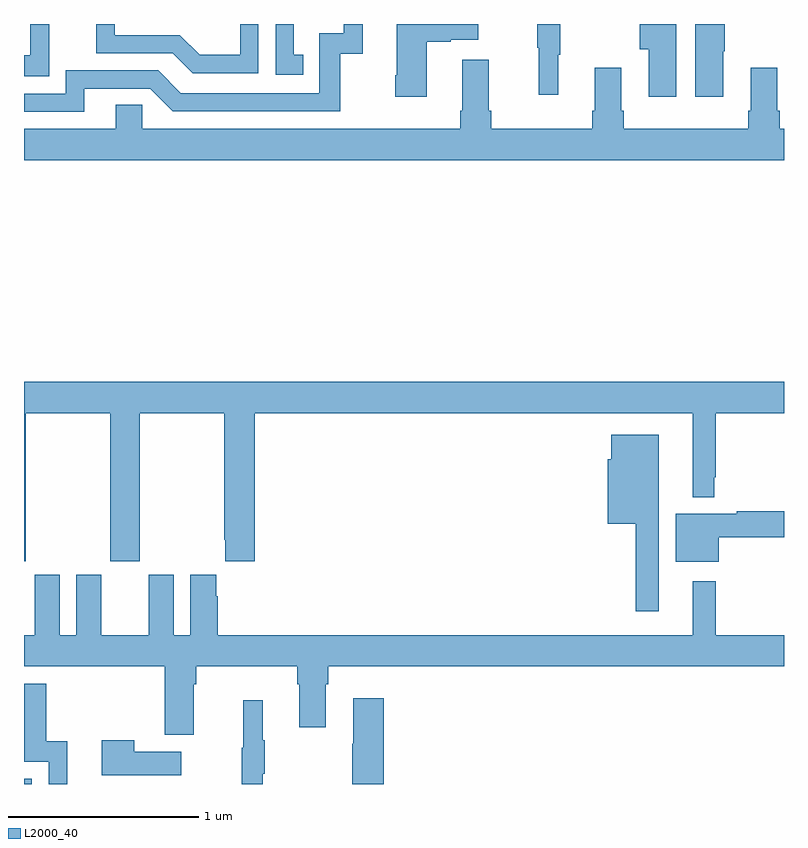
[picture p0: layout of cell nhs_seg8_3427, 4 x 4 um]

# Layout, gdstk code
import gdstk
lib = gdstk.Library(unit=1e-6, precision=1e-09)
def R(c, l, rs):  # rectangles x0, y0, x1, y1
    for r in rs: c.add(gdstk.rectangle(r[:2], r[2:], *l))
def P(c, l, *ps):  # polygons
    for p in ps: c.add(gdstk.Polygon(p, *l))
L2000_40 = (2000, 40)

nhs_seg8_3427 = lib.new_cell('nhs_seg8_3427')
R(nhs_seg8_3427, L2000_40, [(323,1095.9,323.04,1095.927)])
P(nhs_seg8_3427, L2000_40, [(326.434,1099.9),(326.24,1099.9),(326.24,1099.766),(326.288,1099.766),(326.288,1099.518),(326.434,1099.518)],
  [(324.47,1099.737),(324.421,1099.737),(324.421,1099.9),(324.324,1099.9),(324.324,1099.632),(324.47,1099.632)],
  [(326.68,1099.756),(326.688,1099.756),(326.688,1099.9),(326.534,1099.9),(326.534,1099.518),(326.68,1099.518)],
  [(323.317,1099.56),(323.664,1099.56),(323.784,1099.44),(324.664,1099.44),(324.664,1099.743),(324.782,1099.743),(324.782,1099.9),(324.684,1099.9),(324.684,1099.851),(324.555,1099.851),(324.555,1099.536),(323.826,1099.536),(323.706,1099.656),(323.22,1099.656),(323.22,1099.533),(323,1099.533),(323,1099.437),(323.317,1099.437)],
  [(323.133,1099.831),(323.132,1099.831),(323.132,1099.9),(323.033,1099.9),(323.033,1099.735),(323,1099.735),(323,1099.625),(323.133,1099.625)],
  [(324.234,1099.9),(324.138,1099.9),(324.138,1099.738),(323.924,1099.738),(323.82,1099.842),(323.478,1099.842),(323.478,1099.9),(323.38,1099.9),(323.38,1099.746),(323.783,1099.746),(323.888,1099.641),(324.234,1099.641)],
  [(325.12,1099.807),(325.247,1099.807),(325.247,1099.817),(325.39,1099.817),(325.39,1099.9),(324.962,1099.9),(324.962,1099.63),(324.955,1099.63),(324.955,1099.518),(325.12,1099.518)],
  [(325.811,1099.739),(325.822,1099.739),(325.822,1099.9),(325.701,1099.9),(325.701,1099.776),(325.708,1099.776),(325.708,1099.527),(325.811,1099.527)],
  [(327,1099.348),(326.978,1099.348),(326.978,1099.444),(326.965,1099.444),(326.965,1099.669),(326.825,1099.669),(326.825,1099.444),(326.813,1099.444),(326.813,1099.348),(326.156,1099.348),(326.156,1099.444),(326.143,1099.444),(326.143,1099.669),(326.003,1099.669),(326.003,1099.444),(325.991,1099.444),(325.991,1099.348),(325.46,1099.348),(325.46,1099.444),(325.447,1099.444),(325.447,1099.711),(325.307,1099.711),(325.307,1099.444),(325.295,1099.444),(325.295,1099.348),(323.622,1099.348),(323.622,1099.475),(323.483,1099.475),(323.483,1099.348),(323,1099.348),(323,1099.184),(327,1099.184)],
  [(323.01,1097.852),(323.455,1097.852),(323.455,1097.073),(323.61,1097.073),(323.61,1097.852),(324.055,1097.852),(324.055,1097.185),(324.059,1097.185),(324.059,1097.073),(324.215,1097.073),(324.215,1097.852),(326.519,1097.852),(326.519,1097.408),(326.634,1097.408),(326.634,1097.515),(326.641,1097.515),(326.641,1097.852),(327,1097.852),(327,1098.016),(323,1098.016),(323,1097.073),(323.01,1097.073)],
  [(326.341,1097.737),(326.09,1097.737),(326.09,1097.61),(326.072,1097.61),(326.072,1097.27),(326.22,1097.27),(326.22,1096.809),(326.341,1096.809)],
  [(326.656,1097.2),(327,1097.2),(327,1097.336),(326.752,1097.336),(326.752,1097.323),(326.429,1097.323),(326.429,1097.069),(326.656,1097.069)],
  [(323.893,1096.424),(323.906,1096.424),(323.906,1096.52),(324.437,1096.52),(324.437,1096.424),(324.449,1096.424),(324.449,1096.2),(324.589,1096.2),(324.589,1096.424),(324.602,1096.424),(324.602,1096.52),(327,1096.52),(327,1096.684),(326.641,1096.684),(326.641,1096.966),(326.519,1096.966),(326.519,1096.684),(324.02,1096.684),(324.02,1096.889),(324.013,1096.889),(324.013,1097.002),(323.876,1097.002),(323.876,1096.684),(323.788,1096.684),(323.788,1097.002),(323.657,1097.002),(323.657,1096.684),(323.407,1096.684),(323.407,1097.002),(323.276,1097.002),(323.276,1096.684),(323.188,1096.684),(323.188,1097.002),(323.057,1097.002),(323.057,1096.684),(323,1096.684),(323,1096.52),(323.741,1096.52),(323.741,1096.158),(323.893,1096.158)],
  [(323.228,1096.126),(323.117,1096.126),(323.117,1096.428),(323,1096.428),(323,1096.332),(323.001,1096.332),(323.001,1096.017),(323.13,1096.017),(323.13,1095.9),(323.228,1095.9)],
  [(324.893,1096.351),(324.734,1096.351),(324.734,1096.112),(324.727,1096.112),(324.727,1095.9),(324.893,1095.9)],
  [(324.257,1095.955),(324.268,1095.955),(324.268,1096.129),(324.257,1096.129),(324.257,1096.342),(324.154,1096.342),(324.154,1096.092),(324.147,1096.092),(324.147,1095.9),(324.257,1095.9)],
  [(323.827,1096.069),(323.579,1096.069),(323.579,1096.129),(323.408,1096.129),(323.408,1095.947),(323.827,1095.947)])

lib.write_gds('nhs_seg8_3427.gds')
